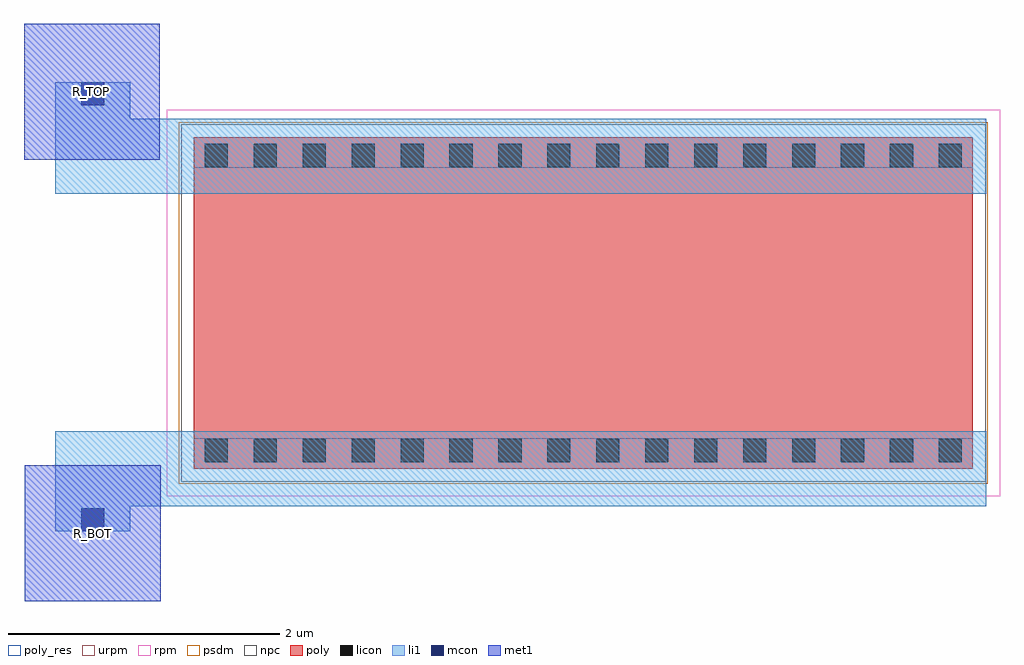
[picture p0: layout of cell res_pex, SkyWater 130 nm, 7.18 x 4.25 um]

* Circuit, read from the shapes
.subckt res_pex R_BOT R_TOP
XR1 R_TOP R_BOT VSUBS sky130_fd_pr__res_xhigh_po w=5.73 l=1.88
.ends

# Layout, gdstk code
import gdstk
lib = gdstk.Library(unit=1e-6, precision=1e-09)
def R(c, l, rs):  # rectangles x0, y0, x1, y1
    for r in rs: c.add(gdstk.rectangle(r[:2], r[2:], *l))
def A(c, l, x, y, w, h, nx, ny, dx, dy):  # array of equal rectangles
    R(c, l, [(x+i*dx, y+j*dy, x+i*dx+w, y+j*dy+h) for i in range(nx) for j in range(ny)])
poly_res = (66, 13)
poly = (66, 20)
licon = (66, 44)
li1 = (67, 20)
mcon = (67, 44)
met1 = (68, 20)
urpm = (79, 20)
rpm = (86, 20)
psdm = (94, 20)
npc = (95, 20)

res_xhigh_po_5p73__2 = lib.new_cell('res_xhigh_po_5p73$$2')
R(res_xhigh_po_5p73__2, poly_res, [(0,-0.05,5.73,1.95)])
R(res_xhigh_po_5p73__2, poly, [(0,-0.27,5.73,0), (0,0,5.73,1.9), (0,1.9,5.73,2.17)])
A(res_xhigh_po_5p73__2, licon, 0.08, -0.22, 0.17, 0.17, 16, 2, 0.36, 2.17)
R(res_xhigh_po_5p73__2, li1, [(-0.1,-0.22,5.83,-0.05), (-0.1,-0.22,5.83,-0.05), (-0.1,1.95,5.83,2.12), (-0.1,1.95,5.83,2.12)])
R(res_xhigh_po_5p73__2, urpm, [(-0.2,-0.47,5.93,2.37)])
R(res_xhigh_po_5p73__2, rpm, [(-0.2,-0.47,5.93,2.37)])
R(res_xhigh_po_5p73__2, psdm, [(-0.11,-0.38,5.84,2.28)])
R(res_xhigh_po_5p73__2, npc, [(-0.095,-0.365,5.825,2.265)])
res_xhigh_po_5p73__2.add(gdstk.Label('MINUS', (2.865,-0.135), layer=67, texttype=20))
res_xhigh_po_5p73__2.add(gdstk.Label('PLUS', (2.865,2.035), layer=67, texttype=20))

l1m1_c__1 = lib.new_cell('L1M1_C$$1')
R(l1m1_c__1, li1, [(-0.275,-0.085,0.275,0.085)])
R(l1m1_c__1, mcon, [(-0.085,-0.085,0.085,0.085)])
R(l1m1_c__1, met1, [(-0.115,-0.145,0.115,0.145)])

res_pex = lib.new_cell('res_pex')
R(res_pex, met1, [(0.5,0.37,1.5,1.37), (0.495,3.62,1.495,4.62)])
res_pex.add(gdstk.FlexPath([(1,3.645),(1,4.105)], 0.55, ends=(0.275, 0), simple_path=True, layer=67, datatype=20))  # li1
res_pex.add(gdstk.FlexPath([(1,1.345),(1,0.97)], 0.55, ends=(0.275, 0), simple_path=True, layer=67, datatype=20))  # li1
res_pex.add(gdstk.FlexPath([(7.575,3.645),(1,3.645)], 0.55, ends=(0, 0.275), simple_path=True, layer=67, datatype=20))  # li1
res_pex.add(gdstk.FlexPath([(7.3,1.345),(1,1.345)], 0.55, ends="extended", simple_path=True, layer=67, datatype=20))  # li1
res_pex.add(gdstk.FlexPath([(7.3,1.395),(7.3,1.345)], 0.55, ends=(0, 0.275), simple_path=True, layer=67, datatype=20))  # li1
res_pex.add(gdstk.Reference(res_xhigh_po_5p73__2, (1.745,1.615)))
res_pex.add(gdstk.Reference(l1m1_c__1, (1,4.105)))
res_pex.add(gdstk.Reference(l1m1_c__1, (1,0.97)))
res_pex.add(gdstk.Label('R_BOT', (1,0.87), layer=68, texttype=20))
res_pex.add(gdstk.Label('R_TOP', (0.995,4.12), layer=68, texttype=20))
res_pex.add(gdstk.Label('R_BOT', (1,0.87), layer=68, texttype=5))
res_pex.add(gdstk.Label('R_TOP', (1.04,4.12), layer=68, texttype=5))

lib.write_gds('res_pex.gds')
